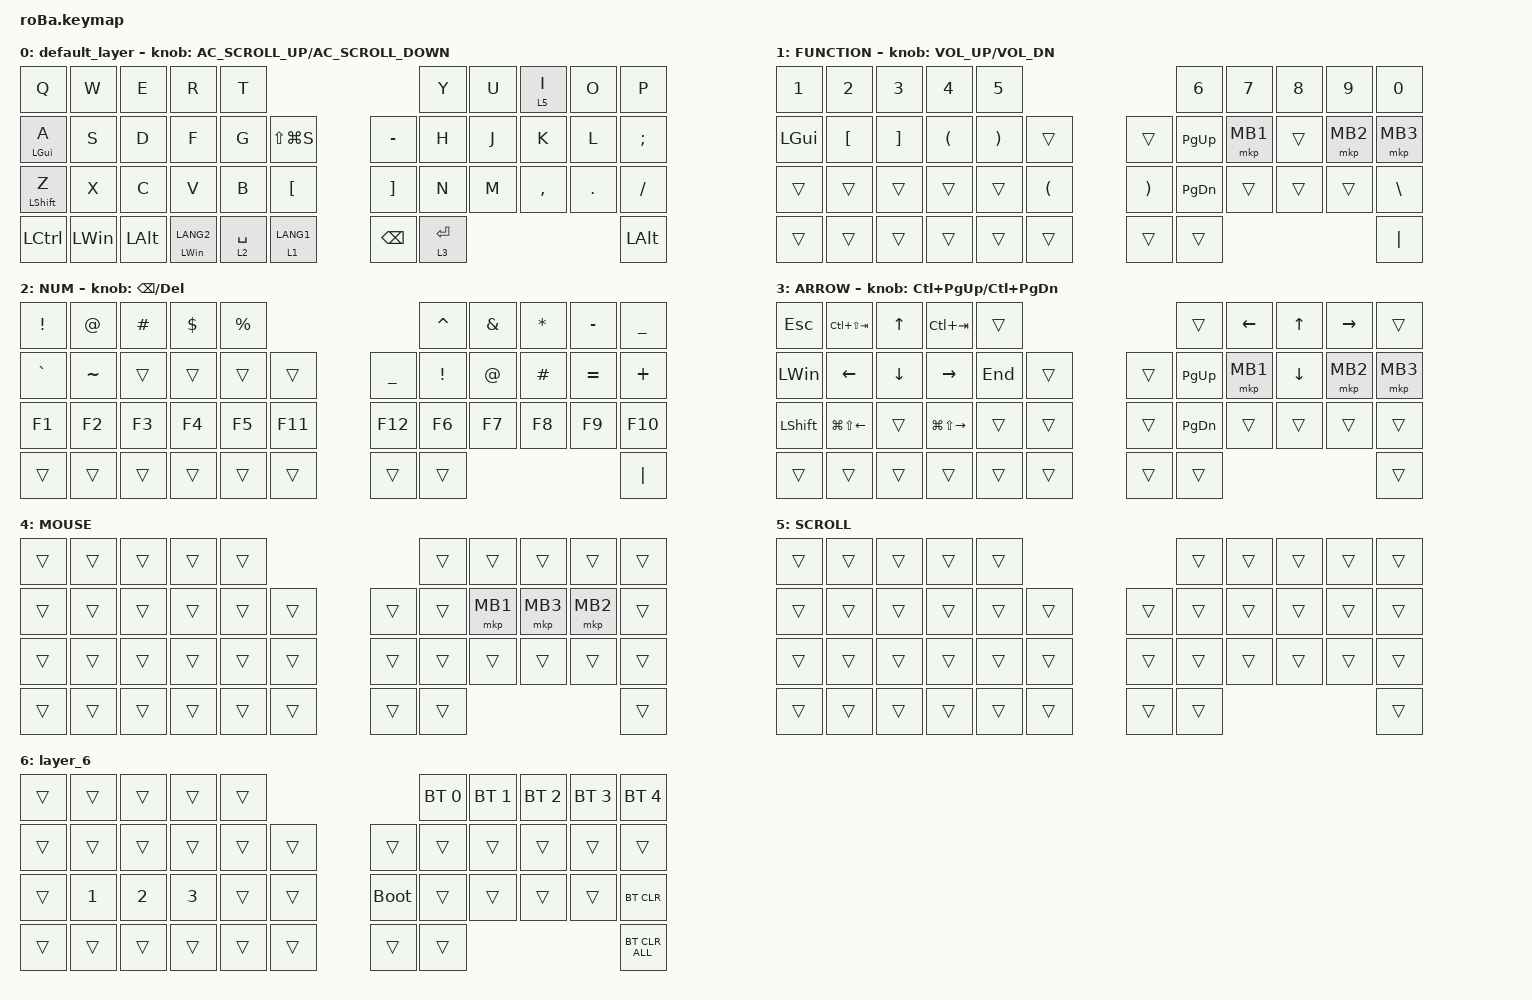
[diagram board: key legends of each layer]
#include <behaviors.dtsi>
#include <dt-bindings/zmk/bt.h>
#include <dt-bindings/zmk/keys.h>
#include <dt-bindings/zmk/pointing.h>

#define MOUSE 4
#define SCROLL 5
#define NUM 6

&mt {
    flavor = "balanced";
    quick-tap-ms = <0>;
};

/ {
    combos {
        compatible = "zmk,combos";

        tab {
            bindings = <&kp TAB>;
            key-positions = <0 1>;
        };

        shift_tab {
            bindings = <&kp LS(TAB)>;
            key-positions = <1 2>;
        };

        double_quotation {
            bindings = <&kp DOUBLE_QUOTES>;
            key-positions = <20 19>;
        };

        eq {
            bindings = <&kp EQUAL>;
            key-positions = <8 9>;
        };

        minus {
            bindings = <&kp MINUS>;
            key-positions = <7 8>;
        };

        single_quote {
            bindings = <&kp SINGLE_QUOTE>;
            key-positions = <20 21>;
        };
    };

    macros {
        to_layer_0: to_layer_0 {
            compatible = "zmk,behavior-macro-one-param";
            #binding-cells = <1>;
            bindings = <&to 0 &macro_param_1to1 &kp MACRO_PLACEHOLDER>;
            label = "TO_LAYER_0";
        };
    };

    behaviors {
        lt_to_layer_0: lt_to_layer_0 {
            compatible = "zmk,behavior-hold-tap";
            label = "LAYER_TAP_TO_0";
            bindings = <&mo>, <&to_layer_0>;

            #binding-cells = <2>;
            tapping-term-ms = <200>;
        };
    };

    keymap {
        compatible = "zmk,keymap";

        default_layer {
            bindings = <
&kp Q             &kp W         &kp E         &kp R               &kp T                                                       &kp Y        &kp U  &lt 5 I    &kp O    &kp P
&mt LEFT_GUI A    &kp S         &kp D         &kp F               &kp G        &kp LS(LG(S))               &kp MINUS          &kp H        &kp J  &kp K      &kp L    &kp SEMICOLON
&mt LEFT_SHIFT Z  &kp X         &kp C         &kp V               &kp B        &kp LEFT_BRACKET            &kp RIGHT_BRACKET  &kp N        &kp M  &kp COMMA  &kp DOT  &kp SLASH
&kp LCTRL         &kp LEFT_WIN  &kp LEFT_ALT  &mt LEFT_WIN LANG2  &lt 2 SPACE  &lt_to_layer_0 1 LANG1      &kp BACKSPACE      &lt 3 ENTER                             &kp LEFT_ALT
            >;

            sensor-bindings = <&inc_dec_kp C_AC_SCROLL_UP C_AC_SCROLL_DOWN>;
        };

        FUNCTION {
            bindings = <
&kp N1    &kp N2    &kp N3    &kp N4                &kp N5                                                                  &kp N6     &kp N7    &kp N8  &kp N9    &kp N0
&kp LGUI  &kp LBKT  &kp RBKT  &kp LEFT_PARENTHESIS  &kp RIGHT_PARENTHESIS  &trans                    &trans                 &kp PG_UP  &mkp MB1  &trans  &mkp MB2  &mkp MB3
&trans    &trans    &trans    &trans                &trans                 &kp LEFT_PARENTHESIS      &kp RIGHT_PARENTHESIS  &kp PG_DN  &trans    &trans  &trans    &kp BSLH
&trans    &trans    &trans    &trans                &trans                 &trans                    &trans                 &trans                                 &kp PIPE
            >;

            sensor-bindings = <&inc_dec_kp C_VOLUME_UP C_VOL_DN>;
        };

        NUM {
            bindings = <
&kp EXCLAMATION  &kp AT_SIGN  &kp HASH  &kp DOLLAR  &kp PERCENT                               &kp CARET        &kp AMPERSAND  &kp ASTERISK  &kp MINUS  &kp UNDERSCORE
&kp GRAVE        &kp TILDE    &trans    &trans      &trans       &trans       &kp UNDERSCORE  &kp EXCLAMATION  &kp AT_SIGN    &kp HASH      &kp EQUAL  &kp PLUS
&kp F1           &kp F2       &kp F3    &kp F4      &kp F5       &kp F11      &kp F12         &kp F6           &kp F7         &kp F8        &kp F9     &kp F10
&trans           &trans       &trans    &trans      &trans       &trans       &trans          &trans                                                   &kp PIPE
            >;

            sensor-bindings = <&inc_dec_kp BACKSPACE DEL>;
        };

        ARROW {
            bindings = <
&kp ESCAPE      &kp LC(LS(TAB))         &kp UP_ARROW    &kp LC(TAB)              &trans                       &trans     &kp LEFT  &kp UP_ARROW    &kp RIGHT  &trans
&kp LEFT_WIN    &kp LEFT_ARROW          &kp DOWN_ARROW  &kp RIGHT_ARROW          &kp END  &trans      &trans  &kp PG_UP  &mkp MB1  &kp DOWN_ARROW  &mkp MB2   &mkp MB3
&kp LEFT_SHIFT  &kp LG(LS(LEFT_ARROW))  &trans          &kp LG(LS(RIGHT_ARROW))  &trans   &trans      &trans  &kp PG_DN  &trans    &trans          &trans     &trans
&trans          &trans                  &trans          &trans                   &trans   &trans      &trans  &trans                                          &trans
            >;

            sensor-bindings = <&inc_dec_kp LC(PAGE_UP) LC(PAGE_DOWN)>;
        };

        MOUSE {
            bindings = <
&trans  &trans  &trans  &trans  &trans                      &trans  &trans    &trans    &trans    &trans
&trans  &trans  &trans  &trans  &trans  &trans      &trans  &trans  &mkp MB1  &mkp MB3  &mkp MB2  &trans
&trans  &trans  &trans  &trans  &trans  &trans      &trans  &trans  &trans    &trans    &trans    &trans
&trans  &trans  &trans  &trans  &trans  &trans      &trans  &trans                                &trans
            >;
        };

        SCROLL {
            bindings = <
&trans  &trans  &trans  &trans  &trans                      &trans  &trans  &trans  &trans  &trans
&trans  &trans  &trans  &trans  &trans  &trans      &trans  &trans  &trans  &trans  &trans  &trans
&trans  &trans  &trans  &trans  &trans  &trans      &trans  &trans  &trans  &trans  &trans  &trans
&trans  &trans  &trans  &trans  &trans  &trans      &trans  &trans                          &trans
            >;
        };

        layer_6 {
            bindings = <
&trans  &trans        &trans        &trans        &trans                           &bt BT_SEL 0  &bt BT_SEL 1  &bt BT_SEL 2  &bt BT_SEL 3  &bt BT_SEL 4
&trans  &trans        &trans        &trans        &trans  &trans      &trans       &trans        &trans        &trans        &trans        &trans
&trans  &kp NUMBER_1  &kp NUMBER_2  &kp NUMBER_3  &trans  &trans      &bootloader  &trans        &trans        &trans        &trans        &bt BT_CLR
&trans  &trans        &trans        &trans        &trans  &trans      &trans       &trans                                                  &bt BT_CLR_ALL
            >;
        };
    };
};
